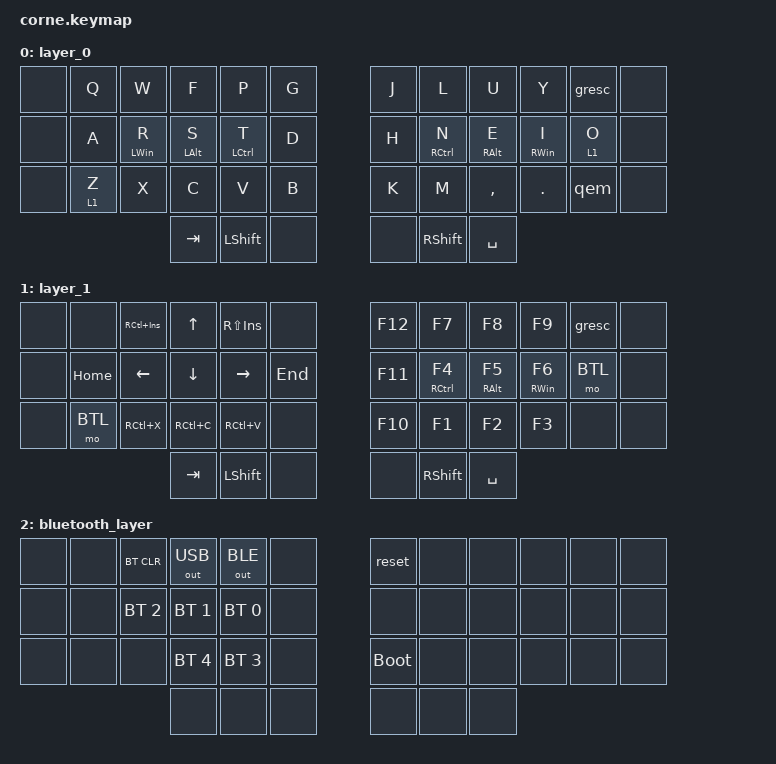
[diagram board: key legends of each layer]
/*
 * Copyright (c) 2020 The ZMK Contributors
 *
 * SPDX-License-Identifier: MIT
 * Edited by Tim Wenger
 * This is the 2L-COLEMAK branch
 * 
 *
 */
 
 /*                KEY POSITIONS

   -------------------------    -------------------------
  | x0   1   2   3   4    5 | |  6   7   8   9  10  x11  |
  |x12  13  14  15  16   17 | | 18  19  20  21  22  x23  |
  |x24  25  26  27  28   29 | | 30  31  32  33  34  x35  |
   -----------  36  37  x38 | |x39  40   41  ------------
               -------------   -------------            */



#include <behaviors.dtsi>
#include <dt-bindings/zmk/keys.h>
#include <dt-bindings/zmk/bt.h>
#include <dt-bindings/zmk/outputs.h>

#define L0      0
#define L1      1
#define BTL     2

// defines for more compact combo syntax

#define COMBO(NAME, TIMEOUT, KEYPOS, BINDINGS) \
  combo_##NAME { \
    timeout-ms = <TIMEOUT>; \
    key-positions = <KEYPOS>; \
	bindings = <BINDINGS>; \
  };
  

&lt {
    tapping-term-ms = <250>;
    quick_tap_ms = <180>;

};

/ {	
	behaviors {
	
        hm: homerow_mods {
            compatible = "zmk,behavior-hold-tap";
            label = "HOMEROW_MODS";
            #binding-cells = <2>;
            tapping-term-ms = <250>;
            quick-tap-ms = <180>;
            flavor = "tap-preferred";
            bindings = <&kp>, <&kp>;
        };
		
		qem: question_exclamation_morph {
            compatible = "zmk,behavior-mod-morph";
            label = "QUESTION_EXCLAMATION_MORPH";
            #binding-cells = <0>;
            bindings = <&kp QMARK>, <&kp EXCLAMATION>;
            mods = <(MOD_LSFT|MOD_RSFT)>;
        };
		
	};
	
	
    combos {
	   compatible = "zmk,combos";
		
	   
	   // left hand general
	   
	   COMBO(pg_dn,            50,  2  3, &kp PG_DN)
	   COMBO(pg_up,            50,  3  4, &kp PG_UP)
	   COMBO(screenshot,       50,  4  5, &kp PRINTSCREEN)
	   COMBO(cntxt_menu,       50, 28 29, &kp K_CONTEXT_MENU)
	   COMBO(bar,              50,  2 14, &kp PIPE)                // vertical
	   COMBO(back_slash,       50,  3 15, &kp BSLH)                // vertical
	   COMBO(fwd_slash,        50,  4 16, &kp FSLH)                // vertical
	   
	   
	   // right hand general
	   
	   COMBO(quotes,           50,  8  9, &kp APOSTROPHE)
	   COMBO(semi_colon,       50, 32 33, &kp SEMICOLON)	  
	  
	   
	   // backspace, delete, enter
	   
	   COMBO(backspace,        50, 14 15, &kp BSPC)
	   COMBO(delete,           50, 26 27, &kp DELETE)
	   COMBO(enter,            50, 20 21, &kp ENTER)		   
	   
	   
	   // brackets
	   
	   COMBO(l_square_bracket, 50,  2  4, &kp LBKT)
	   COMBO(r_square_bracket, 50,  7  9, &kp RBKT)
	   COMBO(l_paren,          50, 14 16, &kp LPAR)
	   COMBO(r_paren,          50, 19 21, &kp RPAR)
	   COMBO(l_brace,          50, 26 28, &kp LBRC)
	   COMBO(r_brace,          50, 31 33, &kp RBRC)
	   
	   
	   // for math
	   
	   COMBO(equals_plus,      50,  7  8, &kp EQUAL)
	   COMBO(minus_underscore, 50, 31 32, &kp MINUS)
	   COMBO(multiply,         50,  6  7, &kp ASTERISK)
	   COMBO(divide,           50, 30 31, &kp SLASH)
	   
	   
	   // numbers row
	   	   
	   COMBO(num_one,         100, 13 25, &kp N1)                // vertical
	   COMBO(num_two,          50, 14 26, &kp N2)                // vertical
	   COMBO(num_three,        50, 15 27, &kp N3)                // vertical
	   COMBO(num_four,         50, 16 28, &kp N4)                // vertical
	   COMBO(num_five,         50, 17 29, &kp N5)                // vertical
	   COMBO(num_six,          50, 18 30, &kp N6)                // vertical
	   COMBO(num_seven,        50, 19 31, &kp N7)                // vertical
	   COMBO(num_eight,        50, 20 32, &kp N8)                // vertical
	   COMBO(num_nine,         50, 21 33, &kp N9)                // vertical
	   COMBO(num_zero,        100, 22 34, &kp N0)                // vertical
	   

       // tab / app / desktop switching
	   
	   COMBO(move_tab_right,   50, 18 19, &kp LC(TAB))
	   COMBO(move_tab_left,    50, 16 17, &kp LC(LS(TAB)))
	   
	   COMBO(choose_apps,      50, 37 40, &kp LC(LA(TAB)))
	   COMBO(task_view,        50, 36 41, &kp LG(TAB))
	   
	   COMBO(move_dsktp_left,  50, 36 37, &kp LG(LC(LEFT)))
	   COMBO(move_dsktp_right, 50, 40 41, &kp LG(LC(RIGHT)))
	   
	   COMBO(close_window,     50,  2  3  4, &kp LA(F4))
	   COMBO(task_mgmt,        50, 26 27 28, &kp LC(LS(ESC)))

 
	};
	
    keymap {
        compatible = "zmk,keymap";
        layer_0 {
         
            bindings = <
                &none       &kp Q         &kp W         &kp F          &kp P           &kp G                 &kp J         &kp L          &kp U         &kp Y           &gresc          &none
                &none       &kp A         &hm LWIN R    &hm LALT S     &hm LCTRL T     &kp D                 &kp H         &hm RCTRL N    &hm RALT E    &hm RWIN I      &lt L1 O        &none
                &none       &lt L1 Z      &kp X         &kp C          &kp V           &kp B                 &kp K         &kp M          &kp COMMA     &kp DOT         &qem            &none
                                                        &kp TAB        &kp LSHFT       &none                 &none         &kp RSHFT      &kp SPACE
            >; 
        };
    	
        layer_1 {
            
    		bindings = <
			    &none       &none         &kp RC(INS)   &kp UP         &kp RS(INS)     &none                 &kp F12       &kp F7         &kp F8        &kp F9          &gresc          &none
                &none       &kp HOME      &kp LEFT      &kp DOWN       &kp RIGHT       &kp END               &kp F11       &hm RCTRL F4   &hm RALT F5   &hm RWIN F6     &mo BTL         &none
                &none       &mo BTL       &kp RC(X)     &kp RC(C)      &kp RC(V)       &none                 &kp F10       &kp F1         &kp F2        &kp F3          &none           &none
                                                        &kp TAB        &kp LSHFT       &none                 &none         &kp RSHFT      &kp SPACE
            >;
        };
    
	bluetooth_layer {

    		bindings = <
                &none       &none         &bt BT_CLR    &out OUT_USB   &out OUT_BLE    &none                 &reset        &none          &none         &none           &none           &none
                &none       &none         &bt BT_SEL 2  &bt BT_SEL 1   &bt BT_SEL 0    &none                 &none         &none          &none         &none           &none           &none
                &none       &none         &none         &bt BT_SEL 4   &bt BT_SEL 3    &none                 &bootloader   &none          &none         &none           &none           &none
                                                        &none          &none           &none                 &none         &none          &none
            >;
        };
    };
};
